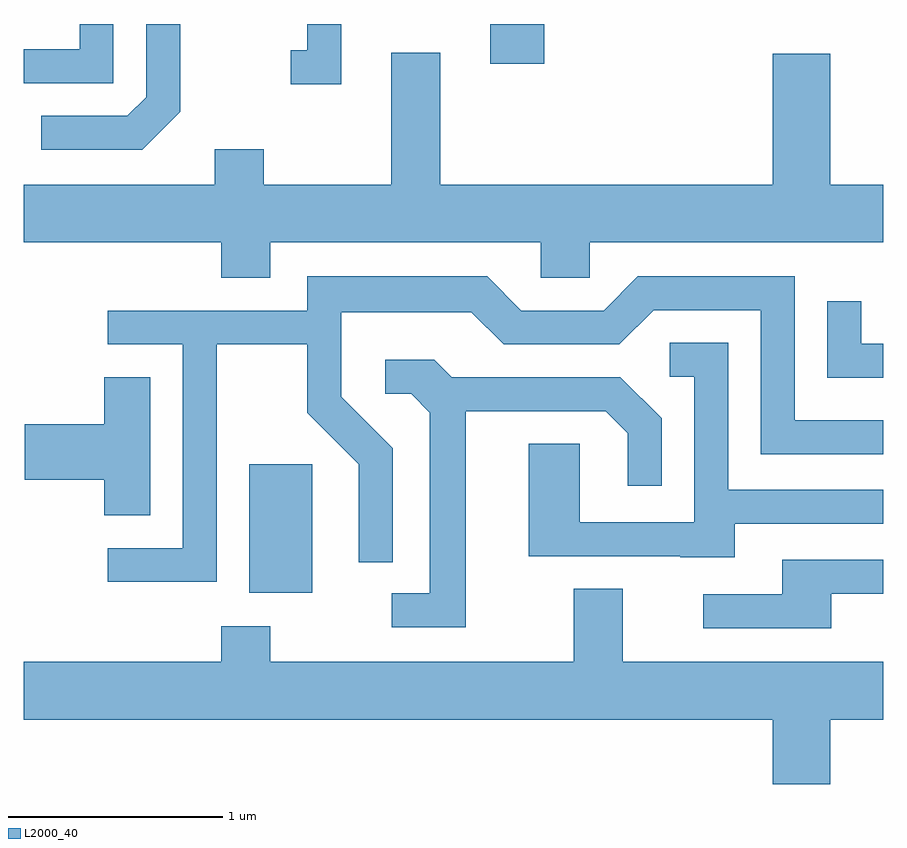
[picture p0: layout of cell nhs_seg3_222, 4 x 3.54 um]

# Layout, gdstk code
import gdstk
lib = gdstk.Library(unit=1e-6, precision=1e-09)
def R(c, l, rs):  # rectangles x0, y0, x1, y1
    for r in rs: c.add(gdstk.rectangle(r[:2], r[2:], *l))
def P(c, l, *ps):  # polygons
    for p in ps: c.add(gdstk.Polygon(p, *l))
L2000_40 = (2000, 40)

nhs_seg3_222 = lib.new_cell('nhs_seg3_222')
R(nhs_seg3_222, L2000_40, [(192.661,1153.246,192.954,1153.844), (193.781,1155.706,194.034,1155.892)])
P(nhs_seg3_222, L2000_40, [(192.339,1155.484),(192.339,1155.892),(192.181,1155.892),(192.181,1155.552),(192.094,1155.464),(191.693,1155.464),(191.693,1155.306),(192.162,1155.306)],
  [(192.029,1155.892),(191.871,1155.892),(191.871,1155.774),(191.611,1155.774),(191.611,1155.616),(192.029,1155.616)],
  [(193.089,1155.892),(192.931,1155.892),(192.931,1155.769),(192.853,1155.769),(192.853,1155.611),(193.089,1155.611)],
  [(192.759,1154.876),(194.016,1154.876),(194.016,1154.711),(194.244,1154.711),(194.244,1154.876),(195.611,1154.876),(195.611,1155.144),(195.364,1155.144),(195.364,1155.754),(195.096,1155.754),(195.096,1155.144),(193.549,1155.144),(193.549,1155.759),(193.321,1155.759),(193.321,1155.144),(192.729,1155.144),(192.729,1155.309),(192.501,1155.309),(192.501,1155.144),(191.611,1155.144),(191.611,1154.876),(192.531,1154.876),(192.531,1154.711),(192.759,1154.711)],
  [(192.509,1154.401),(192.931,1154.401),(192.931,1154.084),(193.171,1153.844),(193.171,1153.388),(193.329,1153.388),(193.329,1153.917),(193.089,1154.157),(193.089,1154.551),(193.694,1154.551),(193.844,1154.401),(194.382,1154.401),(194.542,1154.561),(195.041,1154.561),(195.041,1153.891),(195.611,1153.891),(195.611,1154.049),(195.199,1154.049),(195.199,1154.719),(194.469,1154.719),(194.309,1154.559),(193.927,1154.559),(193.767,1154.719),(192.931,1154.719),(192.931,1154.559),(192.003,1154.559),(192.003,1154.401),(192.351,1154.401),(192.351,1153.454),(192.003,1153.454),(192.003,1153.296),(192.509,1153.296)],
  [(195.611,1154.404),(195.509,1154.404),(195.509,1154.603),(195.351,1154.603),(195.351,1154.246),(195.611,1154.246)],
  [(194.919,1153.566),(195.611,1153.566),(195.611,1153.724),(194.889,1153.724),(194.889,1154.409),(194.618,1154.409),(194.618,1154.251),(194.731,1154.251),(194.731,1153.574),(194.199,1153.574),(194.199,1153.939),(193.961,1153.939),(193.961,1153.416),(194.665,1153.416),(194.665,1153.411),(194.919,1153.411)],
  [(193.669,1154.091),(194.319,1154.091),(194.421,1153.989),(194.421,1153.743),(194.579,1153.743),(194.579,1154.057),(194.387,1154.249),(193.602,1154.249),(193.522,1154.329),(193.293,1154.329),(193.293,1154.171),(193.414,1154.171),(193.501,1154.084),(193.501,1153.244),(193.323,1153.244),(193.323,1153.086),(193.669,1153.086)],
  [(192.199,1154.249),(191.986,1154.249),(191.986,1154.029),(191.616,1154.029),(191.616,1153.771),(191.986,1153.771),(191.986,1153.606),(192.199,1153.606)],
  [(195.369,1153.241),(195.611,1153.241),(195.611,1153.399),(195.141,1153.399),(195.141,1153.239),(194.773,1153.239),(194.773,1153.081),(195.369,1153.081)],
  [(195.364,1152.656),(195.611,1152.656),(195.611,1152.924),(194.399,1152.924),(194.399,1153.264),(194.171,1153.264),(194.171,1152.924),(192.759,1152.924),(192.759,1153.089),(192.531,1153.089),(192.531,1152.924),(191.611,1152.924),(191.611,1152.656),(195.096,1152.656),(195.096,1152.356),(195.364,1152.356)])

lib.write_gds('nhs_seg3_222.gds')
